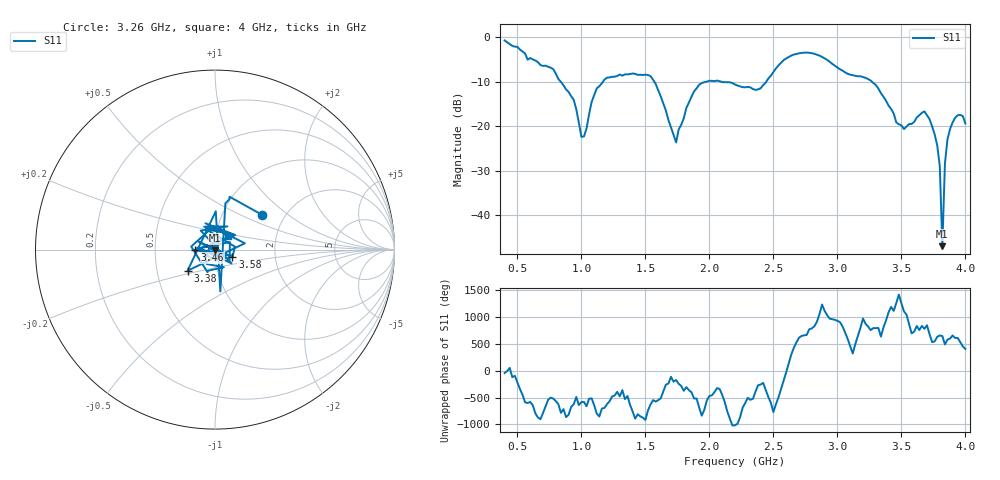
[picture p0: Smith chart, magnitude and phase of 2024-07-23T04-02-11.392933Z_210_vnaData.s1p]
!Created with skrf (http://scikit-rf.org).
# Hz S RI R 50.0
!freq ReS11 ImS11
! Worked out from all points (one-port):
!   181 points, 400 MHz to 4 GHz, reference 50 ohm
!   lowest |S11| = -46.9 dB at 3.82 GHz (marker M1), VSWR 1.01, Z = 50.1 - j0.432 ohm
!   |S11| at or under -10 dB: 1.569 GHz to 1.981 GHz (411.8 MHz wide, 23.2 % of centre); 2.089 GHz to 2.445 GHz (355.8 MHz wide, 15.7 % of centre); 3.269 GHz to end of sweep (the widest 3 of 4)
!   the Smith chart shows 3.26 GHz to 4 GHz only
!   S11 on the Smith chart (normalised r, x): 3.26 GHz: 1.53, +0.67; 3.38 GHz: 0.72, -0.18; 3.46 GHz: 0.80, -0.00; 3.58 GHz: 1.21, -0.10; 4 GHz: 1.15, +0.18
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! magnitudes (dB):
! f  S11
! 400 MHz  -0.8
! 860 MHz  -10.8
! 940 MHz  -14.1
! 1 GHz  -22.4
! 1.02 GHz  -22.3
! 1.12 GHz  -11.5
! 1.3 GHz  -8.4
! 1.54 GHz  -8.8
! 1.74 GHz  -23.6
! 1.76 GHz  -20.7
! 1.92 GHz  -10.7
! 2.2 GHz  -10.6
! 2.4 GHz  -11.5
! 2.66 GHz  -3.9
! 3.1 GHz  -8.5
! 3.26 GHz  -9.8
! 3.38 GHz  -14.3
! 3.46 GHz  -19.1
! 3.56 GHz  -19.5
! 3.58 GHz  -19.5
! 3.68 GHz  -16.7
! 3.76 GHz  -21.8
! 3.8 GHz  -29.0
! 3.82 GHz  -46.9
! 3.84 GHz  -28.4
! 3.86 GHz  -22.9
! 3.94 GHz  -17.5
! 4 GHz  -19.4
